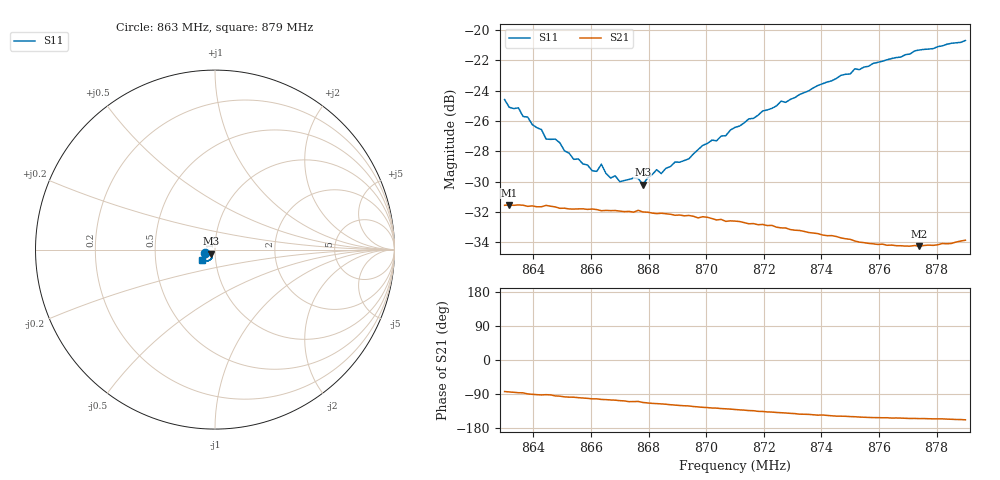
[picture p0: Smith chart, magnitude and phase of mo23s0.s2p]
# HZ S RI R 50
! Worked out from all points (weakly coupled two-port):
!   101 points, 863 MHz to 879 MHz, reference 50 ohm
!   highest |S21| = -31.53 dB at 863.16 MHz (marker M1); lowest = -34.3 dB at 877.4 MHz (marker M2)
!   lowest |S11| = -30.2 dB at 867.8 MHz (marker M3), VSWR 1.06, Z = 48 - j2.26 ohm
!   |S11| at or under -10 dB: start of sweep to end of sweep
!   S12 and S22 are empty: the file has one direction only
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8.63e8  -0.0563 -0.0174  0.00313 -0.0262  0 0  0 0
8.6316e8  -0.0527 -0.0177  0.00262 -0.0264  0 0  0 0
8.6348e8  -0.0527 -0.0169  0.00168 -0.0264  0 0  0 0
8.6364e8  -0.0488 -0.0176  0.00155 -0.0264  0 0  0 0
8.6428e8  -0.0439 -0.0167  -0.00102 -0.0261  0 0  0 0
8.6444e8  -0.0412 -0.0145  -0.0007 -0.0264  0 0  0 0
8.6476e8  -0.0406 -0.016  -0.00217 -0.026  0 0  0 0
8.654e8  -0.0338 -0.0161  -0.00366 -0.0254  0 0  0 0
8.6572e8  -0.0315 -0.0178  -0.00462 -0.0253  0 0  0 0
8.662e8  -0.0287 -0.0186  -0.00553 -0.025  0 0  0 0
8.6636e8  -0.0302 -0.0197  -0.00617 -0.0246  0 0  0 0
8.6668e8  -0.0264 -0.019  -0.00676 -0.0244  0 0  0 0
8.6764e8  -0.0214 -0.0243  -0.00843 -0.024  0 0  0 0
8.678e8  -0.0201 -0.0235  -0.00943 -0.0233  0 0  0 0
8.6828e8  -0.019 -0.029  -0.0105 -0.0225  0 0  0 0
8.6844e8  -0.0176 -0.0286  -0.0108 -0.0224  0 0  0 0
8.71e8  -0.018 -0.0442  -0.0153 -0.0178  0 0  0 0
8.7372e8  -0.0277 -0.0582  -0.0174 -0.0124  0 0  0 0
8.7516e8  -0.0397 -0.0631  -0.0174 -0.0102  0 0  0 0
8.7644e8  -0.0501 -0.063  -0.0174 -0.0088  0 0  0 0
8.774e8  -0.0597 -0.0618  -0.0175 -0.00828  0 0  0 0
8.79e8  -0.0734 -0.0562  -0.0188 -0.00765  0 0  0 0
